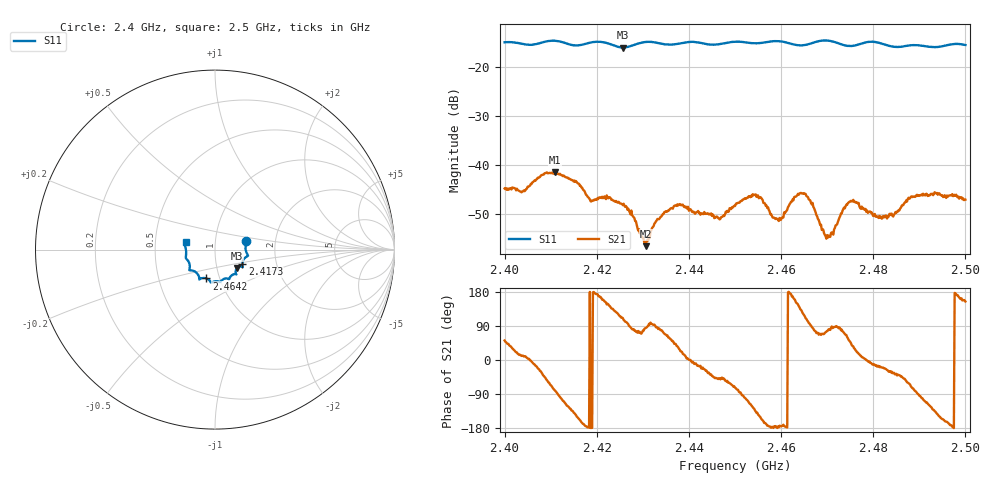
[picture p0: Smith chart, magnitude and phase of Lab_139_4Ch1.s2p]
# Hz S RI R 50
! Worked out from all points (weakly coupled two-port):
!   601 points, 2.4 GHz to 2.5 GHz, reference 50 ohm
!   highest |S21| = -41.43 dB at 2.4108 GHz (marker M1); lowest = -56.5 dB at 2.4307 GHz (marker M2)
!   lowest |S11| = -15.9 dB at 2.4257 GHz (marker M3), VSWR 1.38, Z = 62.4 - j13.1 ohm
!   |S11| at or under -10 dB: start of sweep to end of sweep
!   S12 and S22 are empty: the file has one direction only
!   S11 on the Smith chart (normalised r, x): 2.4 GHz: 1.41, +0.14; 2.4173 GHz: 1.34, -0.23; 2.4642 GHz: 0.86, -0.29; 2.5 GHz: 0.72, +0.06
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2.4e9  0.1737 0.0493  0.00362 0.00454  0 0  0 0
2.404e9  0.1716 0.025  0.00533 0.00109  0 0  0 0
2.408333e9  0.1794 -0.0237  0.00615 -0.00519  0 0  0 0
2.410833e9  0.1842 -0.0342  0.00161 -0.00833  0 0  0 0
2.416667e9  0.1524 -0.0749  -0.00573 -0.0016  0 0  0 0
2.417333e9  0.152 -0.0821  -0.00541 -0.000804  0 0  0 0
2.418833e9  0.1533 -0.0942  -0.00429 -6.25e-05  0 0  0 0
2.425667e9  0.1225 -0.1024  -0.00137 0.00367  0 0  0 0
2.430667e9  0.1188 -0.1378  0.000135 0.00149  0 0  0 0
2.433333e9  0.1127 -0.1366  0.000407 0.00279  0 0  0 0
2.437667e9  0.084 -0.1528  0.00324 0.00216  0 0  0 0
2.446333e9  0.0446 -0.1662  0.00185 -0.00222  0 0  0 0
2.45e9  0.0294 -0.1806  0.00113 -0.00367  0 0  0 0
2.4545e9  0.00585 -0.1761  -0.00362 -0.00352  0 0  0 0
2.459667e9  -0.0232 -0.1834  -0.00288 -0.000321  0 0  0 0
2.464167e9  -0.0482 -0.1608  -0.00363 0.00374  0 0  0 0
2.466667e9  -0.0761 -0.1595  0.000192 0.00399  0 0  0 0
2.470167e9  -0.0873 -0.1661  0.000395 0.00179  0 0  0 0
2.475167e9  -0.1082 -0.1249  0.0031 0.00305  0 0  0 0
2.483333e9  -0.1405 -0.0895  0.00258 -0.00151  0 0  0 0
2.489833e9  -0.1629 -0.0421  -5.46e-05 -0.00493  0 0  0 0
2.5e9  -0.164 0.0418  -0.00403 0.00193  0 0  0 0
